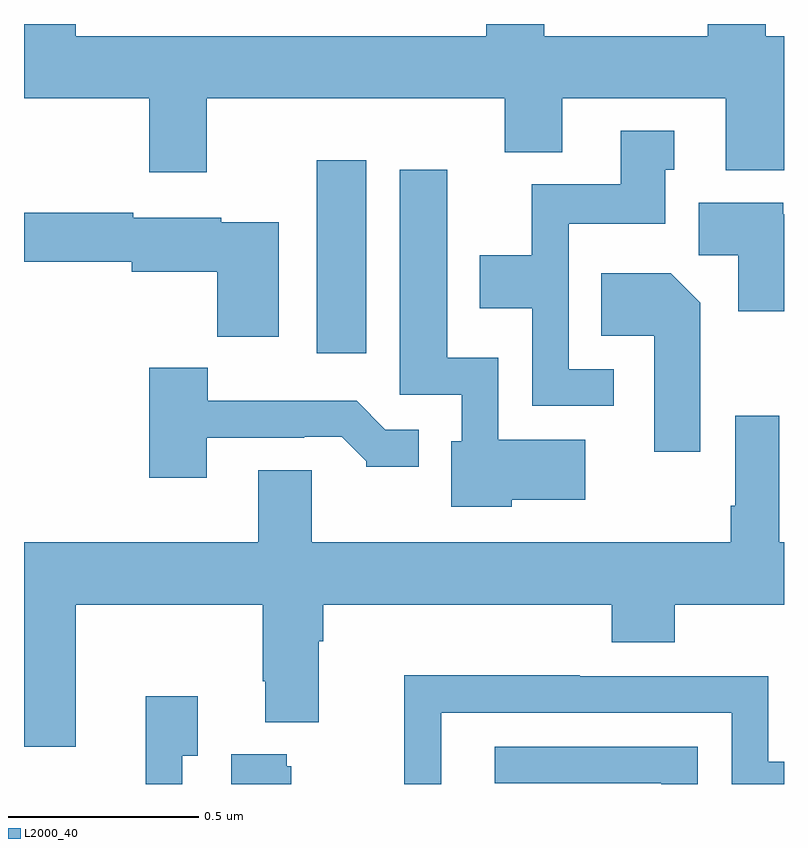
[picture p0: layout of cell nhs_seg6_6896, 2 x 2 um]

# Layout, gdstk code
import gdstk
lib = gdstk.Library(unit=1e-6, precision=1e-09)
def R(c, l, rs):  # rectangles x0, y0, x1, y1
    for r in rs: c.add(gdstk.rectangle(r[:2], r[2:], *l))
def P(c, l, *ps):  # polygons
    for p in ps: c.add(gdstk.Polygon(p, *l))
L2000_40 = (2000, 40)

nhs_seg6_6896 = lib.new_cell('nhs_seg6_6896')
R(nhs_seg6_6896, L2000_40, [(201.77,978.633,201.901,979.141)])
P(nhs_seg6_6896, L2000_40, [(201.481,979.304),(202.265,979.304),(202.265,979.163),(202.417,979.163),(202.417,979.304),(202.847,979.304),(202.847,979.115),(203,979.115),(203,979.468),(202.952,979.468),(202.952,979.5),(202.799,979.5),(202.799,979.468),(202.369,979.468),(202.369,979.5),(202.217,979.5),(202.217,979.468),(201.136,979.468),(201.136,979.5),(201,979.5),(201,979.304),(201.329,979.304),(201.329,979.11),(201.481,979.11)],
  [(202.552,978.591),(202.434,978.591),(202.434,978.974),(202.687,978.974),(202.687,979.116),(202.711,979.116),(202.711,979.219),(202.571,979.219),(202.571,979.078),(202.336,979.078),(202.336,978.892),(202.199,978.892),(202.199,978.752),(202.338,978.752),(202.338,978.495),(202.552,978.495)],
  [(202.284,978.248),(202.477,978.248),(202.477,978.406),(202.248,978.406),(202.248,978.622),(202.114,978.622),(202.114,979.117),(201.989,979.117),(201.989,978.525),(202.152,978.525),(202.152,978.402),(202.124,978.402),(202.124,978.23),(202.284,978.23)],
  [(203,978.999),(202.998,978.999),(202.998,979.03),(202.775,979.03),(202.775,978.892),(202.88,978.892),(202.88,978.744),(203,978.744)],
  [(201.67,978.978),(201.519,978.978),(201.519,978.99),(201.288,978.99),(201.288,979.003),(201,979.003),(201,978.874),(201.284,978.874),(201.284,978.848),(201.508,978.848),(201.508,978.677),(201.67,978.677)],
  [(202.78,978.766),(202.702,978.844),(202.519,978.844),(202.519,978.68),(202.658,978.68),(202.658,978.375),(202.78,978.375)],
  [(201.481,978.411),(201.737,978.411),(201.737,978.414),(201.836,978.414),(201.9,978.35),(201.9,978.335),(202.039,978.335),(202.039,978.432),(201.951,978.432),(201.875,978.508),(201.484,978.508),(201.484,978.595),(201.329,978.595),(201.329,978.306),(201.481,978.306)],
  [(201.757,978.326),(201.617,978.326),(201.617,978.136),(201,978.136),(201,977.598),(201.136,977.598),(201.136,977.972),(201.628,977.972),(201.628,977.77),(201.635,977.77),(201.635,977.663),(201.775,977.663),(201.775,977.876),(201.788,977.876),(201.788,977.972),(202.547,977.972),(202.547,977.873),(202.712,977.873),(202.712,977.972),(203,977.972),(203,978.136),(202.988,978.136),(202.988,978.469),(202.872,978.469),(202.872,978.232),(202.86,978.232),(202.86,978.136),(201.757,978.136)],
  [(202.098,977.688),(202.863,977.688),(202.863,977.5),(203,977.5),(203,977.559),(202.959,977.559),(202.959,977.784),(202.463,977.784),(202.463,977.786),(202,977.786),(202,977.5),(202.098,977.5)],
  [(201.417,977.575),(201.457,977.575),(201.457,977.731),(201.32,977.731),(201.32,977.5),(201.417,977.5)],
  [(202.773,977.598),(202.239,977.598),(202.239,977.502),(202.677,977.502),(202.677,977.5),(202.773,977.5)],
  [(201.703,977.547),(201.692,977.547),(201.692,977.578),(201.545,977.578),(201.545,977.5),(201.703,977.5)])

lib.write_gds('nhs_seg6_6896.gds')
